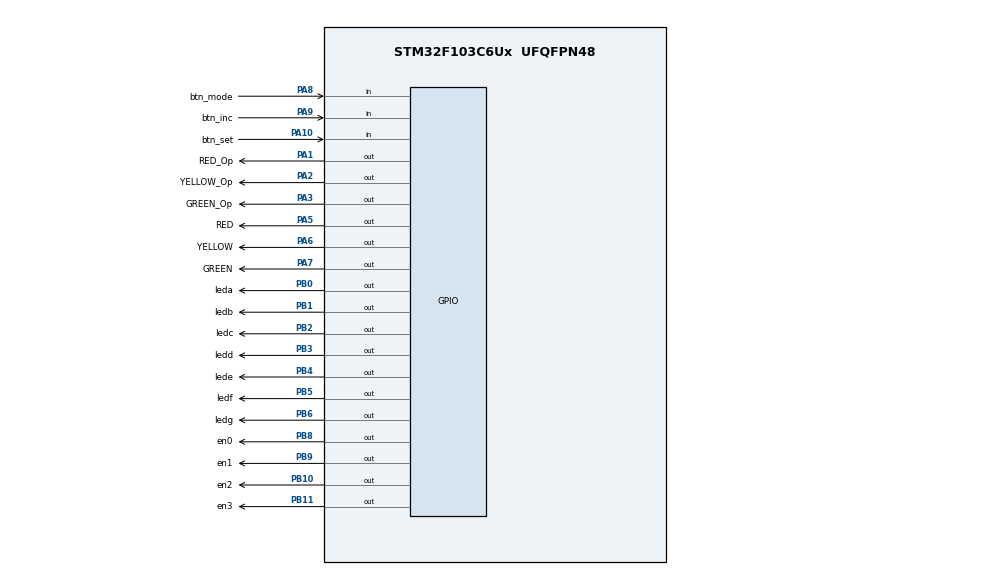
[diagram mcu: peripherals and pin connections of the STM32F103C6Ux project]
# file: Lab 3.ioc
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Mcu.Family=STM32F1
Mcu.Name=STM32F103C6Ux
Mcu.Package=UFQFPN48
NVIC.PriorityGroup=NVIC_PRIORITYGROUP_4
NVIC.TIM2_IRQn=true\:0\:0\:false\:false\:true\:true\:true
PA1.GPIO_Label=RED_Op
PA1.PinState=GPIO_PIN_SET
PA1.Signal=GPIO_Output
PA10.GPIO_Label=btn_set
PA10.GPIO_PuPd=GPIO_PULLUP
PA10.Signal=GPIO_Input
PA13.Mode=Serial_Wire
PA13.Signal=SYS_JTMS-SWDIO
PA14.Mode=Serial_Wire
PA14.Signal=SYS_JTCK-SWCLK
PA2.GPIO_Label=YELLOW_Op
PA2.PinState=GPIO_PIN_SET
PA2.Signal=GPIO_Output
PA3.GPIO_Label=GREEN_Op
PA3.PinState=GPIO_PIN_SET
PA3.Signal=GPIO_Output
PA5.GPIO_Label=RED
PA5.PinState=GPIO_PIN_SET
PA5.Signal=GPIO_Output
PA6.GPIO_Label=YELLOW
PA6.PinState=GPIO_PIN_SET
PA6.Signal=GPIO_Output
PA7.GPIO_Label=GREEN
PA7.PinState=GPIO_PIN_SET
PA7.Signal=GPIO_Output
PA8.GPIO_Label=btn_mode
PA8.GPIO_PuPd=GPIO_PULLUP
PA8.Signal=GPIO_Input
PA9.GPIO_Label=btn_inc
PA9.GPIO_PuPd=GPIO_PULLUP
PA9.Signal=GPIO_Input
PB0.GPIO_Label=leda
PB0.PinState=GPIO_PIN_SET
PB0.Signal=GPIO_Output
PB1.GPIO_Label=ledb
PB1.PinState=GPIO_PIN_SET
PB1.Signal=GPIO_Output
PB10.GPIO_Label=en2
PB10.PinState=GPIO_PIN_SET
PB10.Signal=GPIO_Output
PB11.GPIO_Label=en3
PB11.PinState=GPIO_PIN_SET
PB11.Signal=GPIO_Output
PB2.GPIO_Label=ledc
PB2.PinState=GPIO_PIN_SET
PB2.Signal=GPIO_Output
PB3.GPIO_Label=ledd
PB3.PinState=GPIO_PIN_SET
PB3.Signal=GPIO_Output
PB4.GPIO_Label=lede
PB4.PinState=GPIO_PIN_SET
PB4.Signal=GPIO_Output
PB5.GPIO_Label=ledf
PB5.PinState=GPIO_PIN_SET
PB5.Signal=GPIO_Output
PB6.GPIO_Label=ledg
PB6.PinState=GPIO_PIN_SET
PB6.Signal=GPIO_Output
PB8.GPIO_Label=en0
PB8.PinState=GPIO_PIN_SET
PB8.Signal=GPIO_Output
PB9.GPIO_Label=en1
PB9.PinState=GPIO_PIN_SET
PB9.Signal=GPIO_Output
ProjectManager.HeapSize=0x200
ProjectManager.StackSize=0x400
ProjectManager.TargetToolchain=STM32CubeIDE
RCC.APB1Freq_Value=8000000
RCC.APB2Freq_Value=8000000
TIM2.Period=9
TIM2.Prescaler=7999
VP_TIM2_VS_ClockSourceINT.Mode=Internal
board=custom

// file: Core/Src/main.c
/* USER CODE BEGIN Header */
/**
  ******************************************************************************
  * @file           : main.c
  * @brief          : Main program body
  ******************************************************************************
  * @attention
  *
  * <h2><center>&copy; Copyright (c) 2026 STMicroelectronics.
  * All rights reserved.</center></h2>
  *
  * This software component is licensed by ST under BSD 3-Clause license,
  * the "License"; You may not use this file except in compliance with the
  * License. You may obtain a copy of the License at:
  *                        opensource.org/licenses/BSD-3-Clause
  *
  ******************************************************************************
  */
/* USER CODE END Header */
#include "main.h"

/* USER CODE BEGIN Includes */
#include "software_timer.h"
#include "input_reading.h"
#include "input_processing.h"
#include "output_display.h"

/* USER CODE END Includes */

/* USER CODE BEGIN PD */
/* 2 Hz = 500 ms per full cycle, so toggle every 250 ms. */
/* USER CODE END PD */

TIM_HandleTypeDef htim2;

/* USER CODE BEGIN PV */
/* Debug watches: actual TIM2 tick duration and number of interrupts. */
volatile uint32_t tim2_tick_ms = 0U;
volatile uint32_t tim2_irq_count = 0U;
/* USER CODE END PV */

void SystemClock_Config(void);
static void MX_TIM2_Init(void);
static void MX_GPIO_Init(void);

/* USER CODE BEGIN 0 */
/* STM32F103: TIM2 runs at PCLK1, or 2 * PCLK1 when APB1 is divided.
 * Read the actual PSC/ARR registers after MX_TIM2_Init(). This keeps the
 * software timers consistent when CubeMX regenerates a different TIM2 period.
 * This lab supports whole-millisecond ticks (including 1, 10 and 100 ms). */
static uint32_t tim2_get_tick_ms(void)
{
  RCC_ClkInitTypeDef clocks;
  uint32_t flash_latency;
  uint32_t timer_clock_hz = HAL_RCC_GetPCLK1Freq();
  uint64_t duration_numerator;

  HAL_RCC_GetClockConfig(&clocks, &flash_latency);
  if (clocks.APB1CLKDivider != RCC_HCLK_DIV1)
  {
    timer_clock_hz *= 2U;
  }
  duration_numerator = ((uint64_t)TIM2->PSC + 1U)
                     * ((uint64_t)__HAL_TIM_GET_AUTORELOAD(&htim2) + 1U)
                     * 1000U;
  if (timer_clock_hz == 0U
      || duration_numerator % timer_clock_hz != 0U
      || duration_numerator / timer_clock_hz == 0U
      || duration_numerator / timer_clock_hz > UINT32_MAX)
  {
    Error_Handler();
    return 0U;
  }
  return (uint32_t)(duration_numerator / timer_clock_hz);
}

/* USER CODE END 0 */

int main(void)
{

  /* MCU Configuration--------------------------------------------------------*/

  /* Reset of all peripherals, Initializes the Flash interface and the Systick. */
  HAL_Init();

  /* Configure the system clock */
  SystemClock_Config();

  /* Initialize all configured peripherals */
  MX_TIM2_Init();
  MX_GPIO_Init();
  /* USER CODE BEGIN 2 */
  tim2_tick_ms = tim2_get_tick_ms();
  timerInit(tim2_tick_ms);
  button_init();
  disable7SEG();
  /* Clear any update event raised during timer initialization. */
  __HAL_TIM_SET_COUNTER(&htim2, 0U);
  __HAL_TIM_CLEAR_FLAG(&htim2, TIM_FLAG_UPDATE);
  if (HAL_TIM_Base_Start_IT(&htim2) != HAL_OK)
  {
    Error_Handler();
  }
  /* USER CODE END 2 */

  /* Infinite loop */
  while (1)
  {

    /* USER CODE BEGIN 3 */
    fsm_for_input_processing();

    displayMode();
    scan7SEG();
  }
  /* USER CODE END 3 */
}

void SystemClock_Config(void)
{
  RCC_OscInitTypeDef RCC_OscInitStruct = {0};
  RCC_ClkInitTypeDef RCC_ClkInitStruct = {0};

  /** Initializes the RCC Oscillators according to the specified parameters
  * in the RCC_OscInitTypeDef structure.
  */
  RCC_OscInitStruct.OscillatorType = RCC_OSCILLATORTYPE_HSI;
  RCC_OscInitStruct.HSIState = RCC_HSI_ON;
  RCC_OscInitStruct.HSICalibrationValue = RCC_HSICALIBRATION_DEFAULT;
  RCC_OscInitStruct.PLL.PLLState = RCC_PLL_NONE;
  if (HAL_RCC_OscConfig(&RCC_OscInitStruct) != HAL_OK)
  {
    Error_Handler();
  }
  /** Initializes the CPU, AHB and APB buses clocks
  */
  RCC_ClkInitStruct.ClockType = RCC_CLOCKTYPE_HCLK|RCC_CLOCKTYPE_SYSCLK
                              |RCC_CLOCKTYPE_PCLK1|RCC_CLOCKTYPE_PCLK2;
  RCC_ClkInitStruct.SYSCLKSource = RCC_SYSCLKSOURCE_HSI;
  RCC_ClkInitStruct.AHBCLKDivider = RCC_SYSCLK_DIV1;
  RCC_ClkInitStruct.APB1CLKDivider = RCC_HCLK_DIV1;
  RCC_ClkInitStruct.APB2CLKDivider = RCC_HCLK_DIV1;

  if (HAL_RCC_ClockConfig(&RCC_ClkInitStruct, FLASH_LATENCY_0) != HAL_OK)
  {
    Error_Handler();
  }
}

static void MX_TIM2_Init(void)
{

  TIM_ClockConfigTypeDef sClockSourceConfig = {0};
  TIM_MasterConfigTypeDef sMasterConfig = {0};

  htim2.Instance = TIM2;
  htim2.Init.Prescaler = 7999;
  htim2.Init.CounterMode = TIM_COUNTERMODE_UP;
  htim2.Init.Period = 9;
  htim2.Init.ClockDivision = TIM_CLOCKDIVISION_DIV1;
  htim2.Init.AutoReloadPreload = TIM_AUTORELOAD_PRELOAD_DISABLE;
  if (HAL_TIM_Base_Init(&htim2) != HAL_OK)
  {
    Error_Handler();
  }
  sClockSourceConfig.ClockSource = TIM_CLOCKSOURCE_INTERNAL;
  if (HAL_TIM_ConfigClockSource(&htim2, &sClockSourceConfig) != HAL_OK)
  {
    Error_Handler();
  }
  sMasterConfig.MasterOutputTrigger = TIM_TRGO_RESET;
  sMasterConfig.MasterSlaveMode = TIM_MASTERSLAVEMODE_DISABLE;
  if (HAL_TIMEx_MasterConfigSynchronization(&htim2, &sMasterConfig) != HAL_OK)
  {
    Error_Handler();
  }

}

static void MX_GPIO_Init(void)
{
  GPIO_InitTypeDef GPIO_InitStruct = {0};

  /* GPIO Ports Clock Enable */
  __HAL_RCC_GPIOA_CLK_ENABLE();
  __HAL_RCC_GPIOB_CLK_ENABLE();

  /*Configure GPIO pin Output Level */
  HAL_GPIO_WritePin(GPIOA, RED_Op_Pin|YELLOW_Op_Pin|GREEN_Op_Pin|RED_Pin
                          |YELLOW_Pin|GREEN_Pin, GPIO_PIN_SET);

  /*Configure GPIO pin Output Level */
  HAL_GPIO_WritePin(GPIOB, leda_Pin|ledb_Pin|ledc_Pin|en2_Pin
                          |en3_Pin|ledd_Pin|lede_Pin|ledf_Pin
                          |ledg_Pin|en0_Pin|en1_Pin, GPIO_PIN_SET);

  /*Configure GPIO pins : RED_Op_Pin YELLOW_Op_Pin GREEN_Op_Pin RED_Pin
                           YELLOW_Pin GREEN_Pin */
  GPIO_InitStruct.Pin = RED_Op_Pin|YELLOW_Op_Pin|GREEN_Op_Pin|RED_Pin
                          |YELLOW_Pin|GREEN_Pin;
  GPIO_InitStruct.Mode = GPIO_MODE_OUTPUT_PP;
  GPIO_InitStruct.Pull = GPIO_NOPULL;
  GPIO_InitStruct.Speed = GPIO_SPEED_FREQ_LOW;
  HAL_GPIO_Init(GPIOA, &GPIO_InitStruct);

  /*Configure GPIO pins : leda_Pin ledb_Pin ledc_Pin en2_Pin
                           en3_Pin ledd_Pin lede_Pin ledf_Pin
                           ledg_Pin en0_Pin en1_Pin */
  GPIO_InitStruct.Pin = leda_Pin|ledb_Pin|ledc_Pin|en2_Pin
                          |en3_Pin|ledd_Pin|lede_Pin|ledf_Pin
                          |ledg_Pin|en0_Pin|en1_Pin;
  GPIO_InitStruct.Mode = GPIO_MODE_OUTPUT_PP;
  GPIO_InitStruct.Pull = GPIO_NOPULL;
  GPIO_InitStruct.Speed = GPIO_SPEED_FREQ_LOW;
  HAL_GPIO_Init(GPIOB, &GPIO_InitStruct);

  /*Configure GPIO pins : btn_mode_Pin btn_inc_Pin btn_set_Pin */
  GPIO_InitStruct.Pin = btn_mode_Pin|btn_inc_Pin|btn_set_Pin;
  GPIO_InitStruct.Mode = GPIO_MODE_INPUT;
  GPIO_InitStruct.Pull = GPIO_PULLUP;
  HAL_GPIO_Init(GPIOA, &GPIO_InitStruct);

}

/* USER CODE BEGIN 4 */
void HAL_TIM_PeriodElapsedCallback(TIM_HandleTypeDef *htim)
{
  if (htim->Instance == TIM2)
  {
    tim2_irq_count++;
    timerRun();
    button_reading(); // TIM2 interrupt every 10 ms, as in the lab example.
  }
}
/* USER CODE END 4 */

void Error_Handler(void)
{
  __disable_irq();
  while (1)
  {
  }
}

/************************ (C) COPYRIGHT STMicroelectronics *****END OF FILE****/
